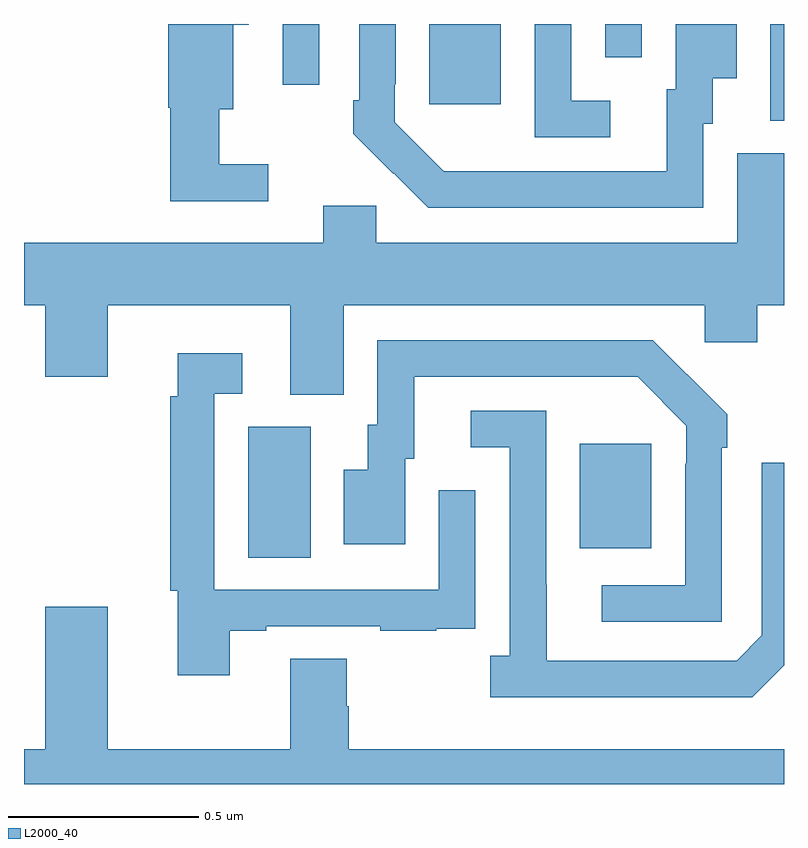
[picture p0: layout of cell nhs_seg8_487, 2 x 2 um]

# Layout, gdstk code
import gdstk
lib = gdstk.Library(unit=1e-6, precision=1e-09)
def R(c, l, rs):  # rectangles x0, y0, x1, y1
    for r in rs: c.add(gdstk.rectangle(r[:2], r[2:], *l))
def P(c, l, *ps):  # polygons
    for p in ps: c.add(gdstk.Polygon(p, *l))
L2000_40 = (2000, 40)

nhs_seg8_487 = lib.new_cell('nhs_seg8_487')
R(nhs_seg8_487, L2000_40, [(117.59,1122.496,117.754,1122.84), (118.463,1122.521,118.651,1122.796), (118.964,1123.645,119,1123.9), (118.067,1123.689,118.255,1123.9), (117.681,1123.74,117.777,1123.9), (118.53,1123.812,118.626,1123.9)])
P(nhs_seg8_487, L2000_40, [(117.643,1123.531),(117.514,1123.531),(117.514,1123.676),(117.55,1123.676),(117.55,1123.898),(117.592,1123.898),(117.592,1123.9),(117.38,1123.9),(117.38,1123.68),(117.385,1123.68),(117.385,1123.434),(117.643,1123.434)],
  [(118.788,1123.638),(118.813,1123.638),(118.813,1123.757),(118.876,1123.757),(118.876,1123.9),(118.715,1123.9),(118.715,1123.728),(118.691,1123.728),(118.691,1123.512),(118.207,1123.512),(118.207,1123.513),(118.104,1123.513),(117.975,1123.641),(117.975,1123.741),(117.978,1123.741),(117.978,1123.9),(117.882,1123.9),(117.882,1123.699),(117.867,1123.699),(117.867,1123.611),(117.972,1123.506),(117.973,1123.507),(118.064,1123.416),(118.788,1123.416)],
  [(118.543,1123.698),(118.44,1123.698),(118.44,1123.9),(118.344,1123.9),(118.344,1123.602),(118.543,1123.602)],
  [(117.841,1123.16),(118.791,1123.16),(118.791,1123.062),(118.93,1123.062),(118.93,1123.16),(119,1123.16),(119,1123.56),(118.877,1123.56),(118.877,1123.324),(117.927,1123.324),(117.927,1123.422),(117.788,1123.422),(117.788,1123.324),(117,1123.324),(117,1123.16),(117.056,1123.16),(117.056,1122.972),(117.22,1122.972),(117.22,1123.16),(117.701,1123.16),(117.701,1122.925),(117.841,1122.925)],
  [(118.836,1122.785),(118.851,1122.785),(118.851,1122.873),(118.746,1122.978),(118.745,1122.977),(118.654,1123.068),(117.93,1123.068),(117.93,1122.846),(117.905,1122.846),(117.905,1122.727),(117.842,1122.727),(117.842,1122.531),(118.003,1122.531),(118.003,1122.756),(118.027,1122.756),(118.027,1122.972),(118.615,1122.972),(118.743,1122.843),(118.743,1122.743),(118.74,1122.743),(118.74,1122.423),(118.521,1122.423),(118.521,1122.327),(118.836,1122.327)],
  [(117.541,1122.303),(117.637,1122.303),(117.637,1122.315),(117.937,1122.315),(117.937,1122.303),(118.085,1122.303),(118.085,1122.309),(118.187,1122.309),(118.187,1122.418),(118.188,1122.418),(118.188,1122.673),(118.092,1122.673),(118.092,1122.411),(117.501,1122.411),(117.501,1122.927),(117.574,1122.927),(117.574,1123.033),(117.404,1123.033),(117.404,1122.92),(117.385,1122.92),(117.385,1122.408),(117.404,1122.408),(117.404,1122.186),(117.541,1122.186)],
  [(119,1122.212),(119,1122.745),(118.941,1122.745),(118.941,1122.291),(118.875,1122.225),(118.375,1122.225),(118.375,1122.425),(118.374,1122.425),(118.374,1122.882),(118.176,1122.882),(118.176,1122.786),(118.278,1122.786),(118.278,1122.238),(118.227,1122.238),(118.227,1122.128),(118.916,1122.128)],
  [(119,1121.992),(117.854,1121.992),(117.854,1122.105),(117.849,1122.105),(117.849,1122.23),(117.701,1122.23),(117.701,1121.992),(117.22,1121.992),(117.22,1122.367),(117.056,1122.367),(117.056,1121.992),(117,1121.992),(117,1121.9),(119,1121.9)])

lib.write_gds('nhs_seg8_487.gds')
